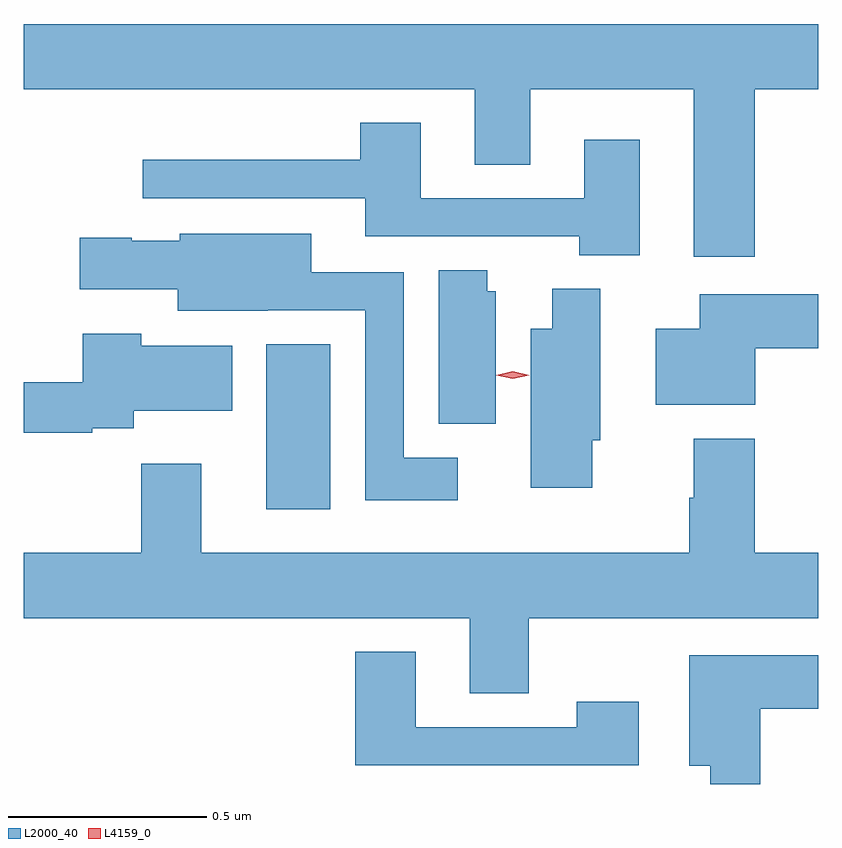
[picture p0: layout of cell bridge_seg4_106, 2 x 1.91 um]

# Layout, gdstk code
import gdstk
lib = gdstk.Library(unit=1e-6, precision=1e-09)
def R(c, l, rs):  # rectangles x0, y0, x1, y1
    for r in rs: c.add(gdstk.rectangle(r[:2], r[2:], *l))
def P(c, l, *ps):  # polygons
    for p in ps: c.add(gdstk.Polygon(p, *l))
L2000_40 = (2000, 40)
L4159_0 = (4159, 0)

bridge_seg4_106 = lib.new_cell('bridge_seg4_106')
R(bridge_seg4_106, L2000_40, [(576.284,771.786,576.445,772.201)])
P(bridge_seg4_106, L2000_40, [(577.514,772.844),(577.674,772.844),(577.674,773.008),(575.674,773.008),(575.674,772.844),(576.809,772.844),(576.809,772.654),(576.949,772.654),(576.949,772.844),(577.361,772.844),(577.361,772.422),(577.514,772.422)],
  [(577.225,772.717),(577.085,772.717),(577.085,772.569),(576.673,772.569),(576.673,772.759),(576.521,772.759),(576.521,772.666),(575.973,772.666),(575.973,772.569),(576.533,772.569),(576.533,772.473),(577.073,772.473),(577.073,772.426),(577.225,772.426)],
  [(576.766,771.916),(576.63,771.916),(576.63,772.383),(576.397,772.383),(576.397,772.48),(576.066,772.48),(576.066,772.462),(575.946,772.462),(575.946,772.47),(575.814,772.47),(575.814,772.34),(576.062,772.34),(576.062,772.286),(576.288,772.286),(576.288,772.287),(576.534,772.287),(576.534,771.809),(576.766,771.809)],
  [(576.862,772.335),(576.841,772.335),(576.841,772.388),(576.719,772.388),(576.719,772.001),(576.862,772.001)],
  [(577.105,771.96),(577.126,771.96),(577.126,772.341),(577.004,772.341),(577.004,772.24),(576.95,772.24),(576.95,771.84),(577.105,771.84)],
  [(577.516,772.192),(577.674,772.192),(577.674,772.328),(577.376,772.328),(577.376,772.24),(577.265,772.24),(577.265,772.049),(577.516,772.049)],
  [(575.846,771.99),(575.95,771.99),(575.95,772.034),(576.199,772.034),(576.199,772.198),(575.97,772.198),(575.97,772.228),(575.822,772.228),(575.822,772.106),(575.674,772.106),(575.674,771.978),(575.846,771.978)],
  [(576.945,771.512),(577.674,771.512),(577.674,771.676),(577.514,771.676),(577.514,771.964),(577.361,771.964),(577.361,771.815),(577.349,771.815),(577.349,771.676),(576.121,771.676),(576.121,771.901),(575.969,771.901),(575.969,771.676),(575.674,771.676),(575.674,771.512),(576.797,771.512),(576.797,771.322),(576.945,771.322)],
  [(577.222,771.301),(577.066,771.301),(577.066,771.237),(576.661,771.237),(576.661,771.427),(576.509,771.427),(576.509,771.141),(577.222,771.141)],
  [(577.529,771.284),(577.674,771.284),(577.674,771.418),(577.349,771.418),(577.349,771.14),(577.403,771.14),(577.403,771.094),(577.529,771.094)])
P(bridge_seg4_106, L4159_0, [(576.905,772.114),(576.864,772.124),(576.864,772.124),(576.864,772.124),(576.905,772.134),(576.946,772.124),(576.946,772.124),(576.946,772.124)])

lib.write_gds('bridge_seg4_106.gds')
